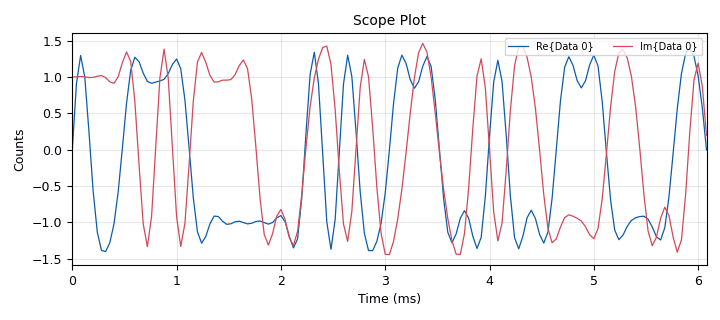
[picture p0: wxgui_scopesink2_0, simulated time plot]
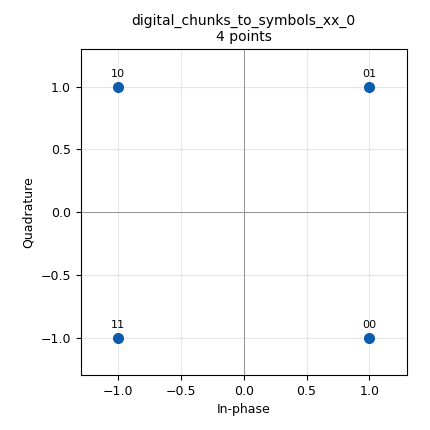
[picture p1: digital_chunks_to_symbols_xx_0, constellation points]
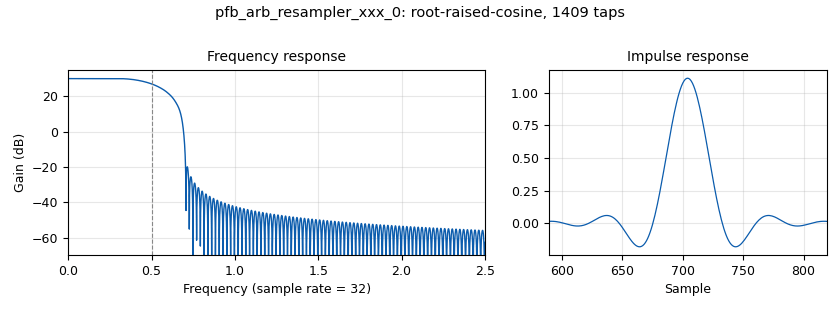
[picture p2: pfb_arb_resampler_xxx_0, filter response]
<?xml version='1.0' encoding='utf-8'?>
<?grc format='1' created='3.7.11'?>
<flow_graph>
<block>
<key>options</key>
<param><key>id</key><value>top_block</value></param>
<param><key>generate_options</key><value>wx_gui</value></param>
</block>
<block>
<key>variable</key>
<param><key>id</key><value>const_points</value></param>
<param><key>value</key><value>4</value></param>
</block>
<block>
<key>variable</key>
<param><key>id</key><value>excess_bw</value></param>
<param><key>value</key><value>0.4</value></param>
</block>
<block>
<key>variable</key>
<param><key>id</key><value>nfilts</value></param>
<param><key>value</key><value>32</value></param>
</block>
<block>
<key>variable</key>
<param><key>id</key><value>ntaps</value></param>
<param><key>value</key><value>11*nfilts*sps</value></param>
</block>
<block>
<key>variable</key>
<param><key>id</key><value>samp_rate</value></param>
<param><key>value</key><value>25000</value></param>
</block>
<block>
<key>variable</key>
<param><key>id</key><value>sps</value></param>
<param><key>value</key><value>4</value></param>
</block>
<block>
<key>variable</key>
<param><key>id</key><value>tx_taps</value></param>
<param><key>value</key><value>filter.firdes.root_raised_cosine(nfilts,nfilts,1.0,excess_bw,ntaps)</value></param>
</block>
<block>
<key>analog_random_source_x</key>
<param><key>id</key><value>analog_random_source_x_0</value></param>
<param><key>max</key><value>const_points</value></param>
<param><key>min</key><value>0</value></param>
<param><key>num_samps</key><value>1000</value></param>
<param><key>type</key><value>byte</value></param>
<param><key>repeat</key><value>True</value></param>
</block>
<block>
<key>digital_chunks_to_symbols_xx</key>
<param><key>id</key><value>digital_chunks_to_symbols_xx_0</value></param>
<param><key>dimension</key><value>1</value></param>
<param><key>in_type</key><value>byte</value></param>
<param><key>out_type</key><value>complex</value></param>
<param><key>symbol_table</key><value>((1-1j),(1+1j),(-1+1j),(-1-1j))</value></param>
</block>
<block>
<key>import</key>
<param><key>id</key><value>import_0</value></param>
<param><key>import</key><value>from math import pi</value></param>
</block>
<block>
<key>import</key>
<param><key>id</key><value>import_0_0</value></param>
<param><key>import</key><value>from gnuradio import filter</value></param>
</block>
<block>
<key>import</key>
<param><key>id</key><value>import_0_1</value></param>
<param><key>import</key><value>from gnuradio import digital</value></param>
</block>
<block>
<key>pfb_arb_resampler_xxx</key>
<param><key>id</key><value>pfb_arb_resampler_xxx_0</value></param>
<param><key>nfilts</key><value>32</value></param>
<param><key>rrate</key><value>sps</value></param>
<param><key>atten</key><value>100</value></param>
<param><key>taps</key><value>tx_taps</value></param>
<param><key>type</key><value>ccf</value></param>
</block>
<block>
<key>wxgui_scopesink2</key>
<param><key>id</key><value>wxgui_scopesink2_0</value></param>
<param><key>ac_couple</key><value>False</value></param>
<param><key>num_inputs</key><value>1</value></param>
<param><key>samp_rate</key><value>samp_rate</value></param>
<param><key>t_scale</key><value>0</value></param>
<param><key>title</key><value>Scope Plot</value></param>
<param><key>trig_mode</key><value>wxgui.TRIG_MODE_AUTO</value></param>
<param><key>type</key><value>complex</value></param>
<param><key>v_offset</key><value>0</value></param>
<param><key>v_scale</key><value>0</value></param>
<param><key>xy_mode</key><value>False</value></param>
<param><key>y_axis_label</key><value>Counts</value></param>
</block>
<connection><source_block_id>analog_random_source_x_0</source_block_id><sink_block_id>digital_chunks_to_symbols_xx_0</sink_block_id><source_key>0</source_key><sink_key>0</sink_key></connection>
<connection><source_block_id>digital_chunks_to_symbols_xx_0</source_block_id><sink_block_id>pfb_arb_resampler_xxx_0</sink_block_id><source_key>0</source_key><sink_key>0</sink_key></connection>
<connection><source_block_id>pfb_arb_resampler_xxx_0</source_block_id><sink_block_id>wxgui_scopesink2_0</sink_block_id><source_key>0</source_key><sink_key>0</sink_key></connection>
</flow_graph>
